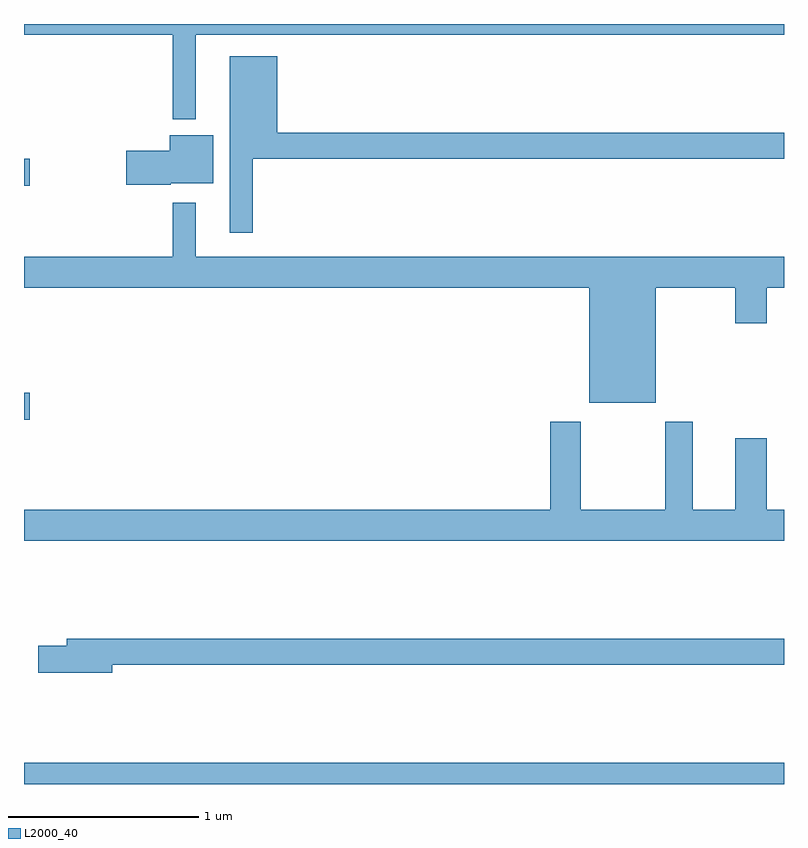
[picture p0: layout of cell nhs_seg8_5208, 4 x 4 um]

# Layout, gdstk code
import gdstk
lib = gdstk.Library(unit=1e-6, precision=1e-09)
def R(c, l, rs):  # rectangles x0, y0, x1, y1
    for r in rs: c.add(gdstk.rectangle(r[:2], r[2:], *l))
def P(c, l, *ps):  # polygons
    for p in ps: c.add(gdstk.Polygon(p, *l))
L2000_40 = (2000, 40)

nhs_seg8_5208 = lib.new_cell('nhs_seg8_5208')
R(nhs_seg8_5208, L2000_40, [(425,1101.9,429,1102.012), (425,1103.818,425.029,1103.96), (425,1105.048,425.029,1105.19)])
P(nhs_seg8_5208, L2000_40, [(425.905,1105.844),(429,1105.844),(429,1105.9),(425,1105.9),(425,1105.844),(425.784,1105.844),(425.784,1105.4),(425.905,1105.4)],
  [(426.205,1105.192),(429,1105.192),(429,1105.328),(426.334,1105.328),(426.334,1105.729),(426.083,1105.729),(426.083,1104.801),(426.205,1104.801)],
  [(425.772,1105.061),(425.995,1105.061),(425.995,1105.315),(425.768,1105.315),(425.768,1105.232),(425.538,1105.232),(425.538,1105.054),(425.772,1105.054)],
  [(428.326,1104.512),(428.744,1104.512),(428.744,1104.324),(428.908,1104.324),(428.908,1104.512),(429,1104.512),(429,1104.676),(425.905,1104.676),(425.905,1104.958),(425.784,1104.958),(425.784,1104.676),(425,1104.676),(425,1104.512),(427.976,1104.512),(427.976,1103.906),(428.326,1103.906)],
  [(429,1103.344),(428.908,1103.344),(428.908,1103.719),(428.744,1103.719),(428.744,1103.344),(428.521,1103.344),(428.521,1103.806),(428.374,1103.806),(428.374,1103.344),(427.929,1103.344),(427.929,1103.806),(427.769,1103.806),(427.769,1103.344),(425,1103.344),(425,1103.18),(429,1103.18)],
  [(425.464,1102.528),(429,1102.528),(429,1102.664),(425.225,1102.664),(425.225,1102.628),(425.076,1102.628),(425.076,1102.486),(425.464,1102.486)])

lib.write_gds('nhs_seg8_5208.gds')
